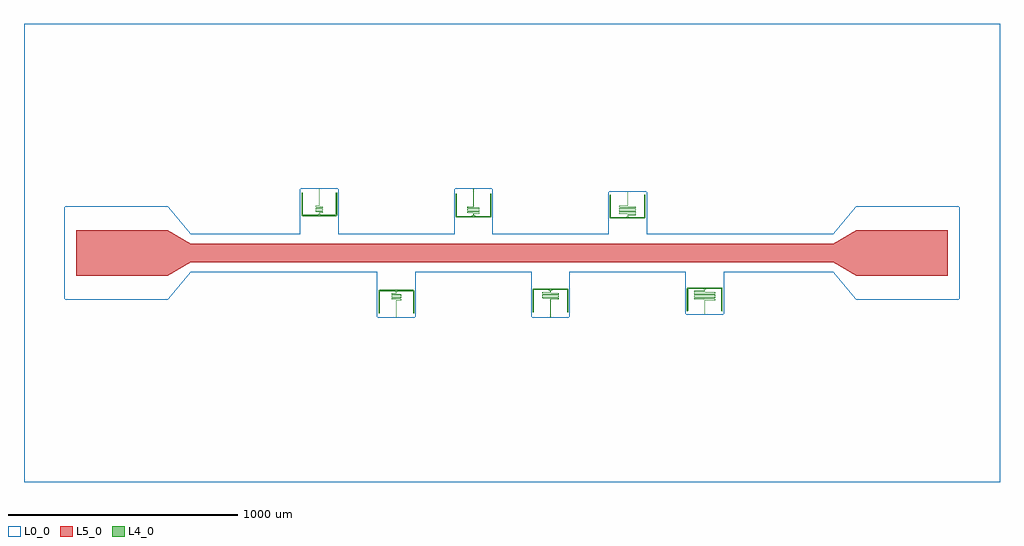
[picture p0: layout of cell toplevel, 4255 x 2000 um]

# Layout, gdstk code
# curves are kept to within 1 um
import gdstk
lib = gdstk.Library(unit=1e-6, precision=1e-09)
def P(c, l, *ps):  # polygons
    for p in ps: c.add(gdstk.Polygon(p, *l))
L0_0 = (0, 0)
L4_0 = (4, 0)
L5_0 = (5, 0)

toplevel = lib.new_cell('toplevel')
P(toplevel, L0_0, [(2127.5,1000),(-2127.5,1000),(-2127.5,-202.5),(-1950,-202.5),(-1950,202.5),(-1500,202.5),(-1400,81),(-922.5,81),(-922.5,281),(-757.5,281),(-757.5,81),(-250.5,81),(-250.5,281),(-85.5,281),(-85.5,81),(421.5,81),(421.5,266),(586.5,266),(586.5,81),(1400,81),(1500,202.5),(1950,202.5),(1950,-202.5),(1500,-202.5),(1400,-81),(922.5,-81),(922.5,-266),(757.5,-266),(757.5,-81),(250.5,-81),(250.5,-281),(85.5,-281),(85.5,-81),(-421.5,-81),(-421.5,-281),(-586.5,-281),(-586.5,-81),(-1400,-81),(-1500,-202.5),(-2127.5,-202.5),(-2127.5,-1000),(2127.5,-1000)])
P(toplevel, L4_0, [(-839.7,174.814),(-839.086,175.597),(-825.724,175.616),(-824.924,176.042),(-824.7,176.995),(-824.743,180.335),(-825.629,181.17),(-854.02,181.201),(-854.687,181.686),(-854.687,185.11),(-854.275,185.578),(-825.963,185.601),(-825.124,185.837),(-824.728,186.542),(-824.738,190.316),(-825.623,191.169),(-854.005,191.201),(-854.68,191.641),(-854.689,195.093),(-854.255,195.581),(-825.923,195.602),(-825.105,195.852),(-824.728,196.542),(-824.736,200.303),(-825.636,201.171),(-854.005,201.201),(-854.678,201.629),(-854.375,205.553),(-840.828,205.607),(-839.733,206.51),(-839.7,280.9),(-840.3,280.9),(-840.323,206.621),(-840.933,206.202),(-854.579,206.117),(-855.276,205.232),(-855.269,201.523),(-854.077,200.602),(-825.745,200.581),(-825.311,200.093),(-825.32,196.641),(-825.99,196.201),(-854.364,196.171),(-855.264,195.303),(-855.272,191.542),(-854.882,190.842),(-854.042,190.601),(-825.765,190.584),(-825.312,190.106),(-825.314,186.677),(-825.99,186.201),(-854.345,186.174),(-855.269,185.277),(-855.282,181.606),(-854.936,180.886),(-854.06,180.602),(-825.745,180.581),(-825.316,180.135),(-825.312,176.694),(-825.919,176.203),(-839.652,176.09),(-840.28,175.207),(-840.3,170.9),(-850,166),(-912.259,166.263),(-912.502,261.109),(-912.952,262.434),(-914.043,263.31),(-915.326,263.479),(-916.607,262.915),(-917.5,261),(-917.475,166.954),(-916.915,164.4),(-915.563,162.507),(-913.447,161.346),(-910.644,161),(-769.356,161),(-766.888,161.253),(-764.934,162.118),(-763.131,164.296),(-762.504,167.513),(-762.5,261),(-763.085,262.607),(-764.353,263.415),(-765.752,263.384),(-766.983,262.522),(-767.498,261.109),(-767.751,166.251),(-830,166),(-839.7,170.9)],
  [(-504.301,-174.944),(-504.923,-175.597),(-523.52,-175.664),(-524.143,-176.15),(-524.3,-177.022),(-524.27,-180.27),(-523.54,-181.13),(-485.015,-181.2),(-484.448,-181.348),(-484.3,-181.96),(-484.312,-185.106),(-484.79,-185.587),(-523.048,-185.601),(-523.87,-185.833),(-524.263,-186.491),(-524.261,-190.316),(-523.294,-191.181),(-485.015,-191.2),(-484.327,-191.601),(-484.312,-195.106),(-484.79,-195.587),(-523.042,-195.601),(-523.852,-195.82),(-524.256,-196.458),(-524.261,-200.316),(-523.294,-201.181),(-485.02,-201.2),(-484.331,-201.583),(-484.308,-205.063),(-484.675,-205.567),(-503.112,-205.603),(-504.248,-206.426),(-504.3,-280.9),(-503.7,-280.9),(-503.666,-206.571),(-503.029,-206.201),(-484.519,-206.146),(-483.728,-205.258),(-483.747,-201.446),(-484.957,-200.601),(-523.21,-200.587),(-523.688,-200.102),(-523.671,-196.59),(-522.985,-196.2),(-484.706,-196.181),(-483.738,-195.316),(-483.74,-191.478),(-484.136,-190.828),(-484.957,-190.601),(-523.21,-190.587),(-523.688,-190.106),(-523.675,-186.609),(-522.985,-186.2),(-484.706,-186.181),(-483.738,-185.316),(-483.735,-181.504),(-484.13,-180.833),(-484.952,-180.601),(-523.197,-180.589),(-523.684,-180.135),(-523.689,-176.703),(-523.091,-176.203),(-504.388,-176.105),(-503.723,-175.226),(-503.7,-170.9),(-494,-166),(-431.741,-166.263),(-431.498,-261.109),(-431.048,-262.434),(-429.957,-263.31),(-428.674,-263.479),(-427.393,-262.915),(-426.5,-261),(-426.525,-166.954),(-427.1,-164.365),(-428.437,-162.507),(-430.552,-161.346),(-433.356,-161),(-574.644,-161),(-577.112,-161.253),(-579.066,-162.118),(-580.853,-164.261),(-581.496,-167.513),(-581.5,-261),(-580.915,-262.607),(-579.647,-263.415),(-578.248,-263.384),(-577.017,-262.522),(-576.502,-261.109),(-576.254,-166.257),(-514,-166),(-504.3,-170.9)],
  [(-167.7,169.82),(-167.561,170.442),(-167.048,170.598),(-142.774,170.611),(-141.928,171.036),(-141.7,172.022),(-141.755,175.387),(-142.78,176.19),(-192.97,176.2),(-193.668,176.579),(-193.687,180.114),(-193.176,180.591),(-142.98,180.601),(-142.167,180.807),(-141.752,181.426),(-141.74,185.322),(-142.762,186.188),(-192.965,186.2),(-193.664,186.564),(-193.687,190.11),(-193.176,190.591),(-142.986,190.601),(-142.18,190.798),(-141.76,191.393),(-141.738,195.316),(-142.755,196.187),(-192.965,196.2),(-193.659,196.546),(-193.691,200.076),(-193.279,200.577),(-168.929,200.602),(-167.77,201.36),(-167.7,280.9),(-168.3,280.9),(-168.344,201.536),(-168.995,201.201),(-193.409,201.163),(-194.27,200.27),(-194.236,196.38),(-193.814,195.794),(-193.014,195.601),(-142.824,195.591),(-142.313,195.11),(-142.339,191.553),(-143.035,191.2),(-193.238,191.188),(-194.26,190.322),(-194.245,186.413),(-193.833,185.807),(-193.02,185.601),(-142.824,185.591),(-142.313,185.11),(-142.334,181.571),(-143.03,181.2),(-193.238,181.188),(-194.259,180.328),(-194.251,176.439),(-193.839,175.811),(-193.02,175.601),(-142.837,175.592),(-142.304,175.018),(-142.304,171.786),(-142.612,171.252),(-167.54,171.13),(-168.285,170.169),(-168.3,165.9),(-178,161),(-240.249,161.251),(-240.502,256.109),(-240.952,257.434),(-242.043,258.31),(-243.326,258.479),(-244.607,257.915),(-245.5,256),(-245.475,161.954),(-244.915,159.4),(-243.563,157.507),(-241.447,156.346),(-238.644,156),(-97.356,156),(-94.888,156.253),(-92.934,157.118),(-91.1,159.365),(-90.503,162.563),(-90.5,256),(-91.085,257.607),(-92.353,258.415),(-93.752,258.384),(-94.983,257.522),(-95.498,256.109),(-95.751,161.251),(-158,161),(-167.7,165.9)],
  [(167.698,-169.972),(167.534,-170.468),(167.01,-170.599),(133.591,-170.637),(132.907,-171.067),(132.7,-171.958),(132.747,-175.354),(133.578,-176.16),(201.995,-176.2),(202.568,-176.366),(202.7,-177.022),(202.681,-180.155),(202.123,-180.595),(134.008,-180.6),(133.212,-180.779),(132.781,-181.327),(132.74,-185.322),(133.094,-185.939),(133.81,-186.192),(201.95,-186.2),(202.648,-186.512),(202.687,-190.114),(202.136,-190.594),(134.014,-190.6),(133.231,-190.768),(132.792,-191.294),(132.738,-195.316),(133.094,-195.939),(133.81,-196.192),(201.945,-196.2),(202.641,-196.492),(202.69,-200.084),(202.227,-200.585),(168.969,-200.601),(167.81,-201.248),(167.7,-280.9),(168.3,-280.9),(168.363,-201.482),(169.025,-201.2),(202.332,-201.176),(203.269,-200.277),(203.2,-196.275),(201.986,-195.6),(133.864,-195.594),(133.313,-195.114),(133.355,-191.502),(134.05,-191.2),(202.19,-191.192),(202.906,-190.939),(203.26,-190.322),(203.215,-186.314),(202.782,-185.775),(201.992,-185.6),(133.864,-185.594),(133.314,-185.118),(133.349,-181.518),(134.05,-181.2),(202.166,-181.194),(202.87,-180.967),(203.254,-180.348),(203.222,-176.334),(202.782,-175.775),(202.037,-175.601),(133.82,-175.591),(133.302,-174.963),(133.306,-171.759),(133.657,-171.238),(167.448,-171.154),(168.276,-170.232),(168.3,-165.9),(178,-161),(238.62,-161),(240.243,-161.246),(240.5,-162.9),(240.502,-256.109),(240.952,-257.434),(242.043,-258.31),(243.326,-258.479),(244.607,-257.915),(245.5,-256),(245.475,-161.954),(244.915,-159.4),(243.563,-157.507),(241.447,-156.346),(238.644,-156),(97.356,-156),(94.888,-156.253),(92.934,-157.118),(91.1,-159.365),(90.503,-162.563),(90.5,-256),(91.085,-257.607),(92.353,-258.415),(93.752,-258.384),(94.983,-257.522),(95.498,-256.109),(95.5,-162.88),(95.751,-161.251),(97.38,-161),(158,-161),(167.7,-165.9)],
  [(504.3,164.83),(504.441,165.444),(504.99,165.599),(539.112,165.603),(540.008,165.958),(540.3,166.947),(540.253,170.354),(539.876,170.962),(539.196,171.192),(469.005,171.2),(468.355,171.502),(468.311,175.093),(468.882,175.595),(538.986,175.6),(539.763,175.764),(540.203,176.281),(540.261,180.316),(539.906,180.939),(539.183,181.192),(469.055,181.2),(468.361,181.486),(468.313,185.114),(468.868,185.595),(538.981,185.6),(539.743,185.753),(540.187,186.242),(540.263,190.309),(539.906,190.939),(539.183,191.192),(469.055,191.2),(468.369,191.467),(468.313,195.11),(468.868,195.595),(538.981,195.6),(540.166,196.196),(540.264,200.303),(539.912,200.934),(539.19,201.192),(469.06,201.2),(468.381,201.443),(468.309,205.076),(468.777,205.586),(503.014,205.601),(504.136,206.137),(504.3,265.9),(503.7,265.9),(503.612,206.429),(502.965,206.2),(468.674,206.177),(468.035,205.887),(467.728,205.258),(467.85,201.163),(469.025,200.6),(539.132,200.595),(539.687,200.11),(539.625,196.455),(538.94,196.2),(468.81,196.192),(468.087,195.934),(467.736,195.303),(467.825,191.215),(469.019,190.6),(539.132,190.595),(539.687,190.11),(539.635,186.476),(538.945,186.2),(468.816,186.192),(468.093,185.939),(467.738,185.316),(467.805,181.261),(468.244,180.76),(469.014,180.6),(539.132,180.595),(539.687,180.114),(539.642,176.495),(538.945,176.2),(468.84,176.194),(468.13,175.967),(467.745,175.348),(467.778,171.334),(468.218,170.775),(468.963,170.601),(539.18,170.591),(539.686,170.118),(539.694,166.755),(539.519,166.319),(539.005,166.201),(504.558,166.156),(503.725,165.239),(503.7,160.9),(494,156),(433.38,156),(431.741,156.263),(431.5,157.88),(431.498,251.109),(431.048,252.434),(429.957,253.31),(428.674,253.479),(427.393,252.915),(426.734,252.056),(426.5,251),(426.525,156.954),(427.1,154.365),(428.437,152.507),(430.552,151.346),(433.356,151),(574.644,151),(577.112,151.253),(579.066,152.118),(580.853,154.261),(581.496,157.513),(581.5,251),(580.915,252.607),(579.647,253.415),(578.248,253.384),(577.017,252.522),(576.502,251.109),(576.5,157.88),(576.254,156.257),(574.62,156),(514,156),(504.3,160.9)],
  [(839.697,-164.981),(839.552,-165.452),(839.067,-165.598),(795.668,-165.624),(794.92,-166.048),(794.7,-167.001),(794.744,-170.341),(795.064,-170.914),(795.642,-171.172),(884.01,-171.201),(884.577,-171.377),(884.7,-171.975),(884.681,-175.155),(884.072,-175.598),(795.98,-175.601),(795.224,-175.771),(794.825,-176.215),(794.736,-180.303),(795.082,-180.929),(795.87,-181.196),(883.935,-181.2),(884.621,-181.446),(884.687,-185.114),(884.104,-185.596),(796.036,-185.6),(795.302,-185.731),(794.854,-186.157),(794.736,-190.303),(795.1,-190.944),(795.846,-191.194),(883.93,-191.2),(884.61,-191.426),(884.687,-195.11),(884.104,-195.596),(796.041,-195.6),(794.883,-196.105),(794.733,-200.29),(795.093,-200.939),(795.846,-201.194),(883.93,-201.2),(884.598,-201.405),(884.691,-205.08),(884.189,-205.59),(841.008,-205.6),(839.92,-206.048),(839.7,-206.958),(839.7,-265.9),(840.3,-265.9),(840.409,-206.395),(884.276,-206.184),(884.953,-205.898),(885.273,-205.251),(885.101,-201.08),(883.959,-200.6),(795.895,-200.596),(795.313,-200.11),(795.394,-196.418),(796.07,-196.2),(884.153,-196.194),(884.9,-195.944),(885.265,-195.296),(885.132,-191.131),(883.964,-190.6),(795.895,-190.596),(795.313,-190.114),(795.384,-186.438),(796.065,-186.2),(884.153,-186.194),(884.9,-185.944),(885.263,-185.309),(885.157,-181.176),(884.704,-180.734),(883.964,-180.6),(795.909,-180.597),(795.312,-180.102),(795.382,-176.44),(796.02,-176.2),(884.124,-176.196),(884.906,-175.939),(885.26,-175.322),(885.19,-171.248),(884.763,-170.764),(884.042,-170.601),(795.868,-170.595),(795.32,-170.159),(795.308,-166.733),(795.462,-166.335),(795.937,-166.202),(839.428,-166.159),(839.998,-165.853),(840.272,-165.258),(840.3,-160.9),(850,-156),(910.62,-156),(912.259,-156.263),(912.5,-157.9),(912.502,-251.109),(912.952,-252.434),(914.043,-253.31),(915.326,-253.479),(916.607,-252.915),(917.266,-252.056),(917.5,-251),(917.475,-156.954),(916.915,-154.4),(915.563,-152.507),(913.447,-151.346),(910.644,-151),(769.356,-151),(766.888,-151.253),(764.934,-152.118),(763.923,-153.034),(763.131,-154.296),(762.504,-157.513),(762.5,-251),(763.085,-252.607),(764.353,-253.415),(765.752,-253.384),(766.983,-252.522),(767.498,-251.109),(767.5,-157.88),(767.751,-156.251),(769.38,-156),(830,-156),(839.7,-160.9)])
P(toplevel, L5_0, [(-1400,40),(-1500,100),(-1900,100),(-1900,-100),(-1500,-100),(-1400,-40),(1400,-40),(1500,-100),(1900,-100),(1900,100),(1500,100),(1400,40)])

lib.write_gds('toplevel.gds')
